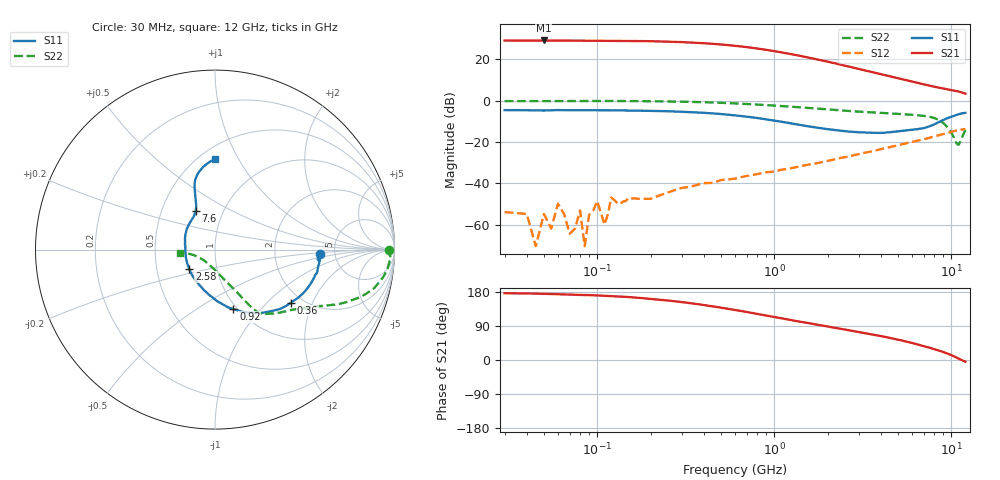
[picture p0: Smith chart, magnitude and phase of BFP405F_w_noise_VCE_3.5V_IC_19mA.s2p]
! Infineon Technologies  Discrete & RF Semiconductors
! BFP405F
! VCE =  3.5 V,  IC =  19 mA
! Common Emitter S-Parameters:  Nov 2015
# GHz  S  MA  R  50
!  f  S11  S21  S12  S22
! GHz  MAG  ANG  MAG  ANG  MAG  ANG  MAG  ANG
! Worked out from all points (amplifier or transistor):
!   239 points, 30 MHz to 12 GHz, reference 50 ohm
!   highest |S21| = 29.1 dB at 50 MHz (marker M1)
!   |S21| within 3 dB of that: start of sweep to 665.3 MHz
!   unconditionally stable (mu >= 1): 44.31 MHz to 45.82 MHz; 54.79 MHz to 55.11 MHz; 1.755 GHz to end of sweep (the widest 3 of 5)
!   at 300 MHz: K = 0.24, MSG = 35.3 dB, |S12| = -42.3 dB
!   at 1.88 GHz: K = 1.04, MAG = 23.4 dB, |S12| = -29.7 dB
!   at 12 GHz: K = 1.37, MAG = 4.9 dB, |S12| = -13.8 dB
!   lowest NFmin = 2.19 dB at 450 MHz
!   S11 on the Smith chart (normalised r, x): 30 MHz: 3.81, -0.27; 360 MHz: 1.75, -1.41; 920 MHz: 0.96, -0.72; 2.58 GHz: 0.73, -0.16; 7.6 GHz: 0.74, +0.34; 12 GHz: 0.60, +0.80
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0.03  0.5863 -2.3  28.28 176.2  0.002 87.8  0.9675 0.0
0.04  0.5837 -3.4  28.27 175.7  0.0018 106.3  0.9707 -0.4
0.045  0.5787 -4.4  28.35 175.0  0.0003 -172.7  0.9708 -0.8
0.05  0.5739 -5.5  28.44 174.4  0.0018 -91.6  0.9709 -1.1
0.055  0.5812 -5.7  28.31 174.1  0.0008 58.9  0.9736 -1.3
0.06  0.5886 -5.9  28.18 173.7  0.0032 75.0  0.9764 -1.4
0.07  0.5831 -6.5  28.13 172.5  0.0006 27.6  0.9732 -1.7
0.08  0.5859 -7.4  27.99 171.7  0.0022 -140.8  0.9774 -2.0
0.085  0.5842 -8.1  28.02 171.5  0.0003 -165.4  0.9774 -2.4
0.1  0.5828 -10.4  27.88 170.4  0.0037 121.1  0.9759 -3.5
0.11  0.583 -11.4  27.85 169.4  0.001 -143.7  0.9783 -3.6
0.15  0.575 -15.5  27.7 166.2  0.0044 62.6  0.9709 -5.3
0.24  0.5541 -24.3  26.7 157.9  0.0056 87.2  0.9542 -8.6
0.36  0.5171 -34.9  24.99 148.2  0.0089 78.5  0.9234 -12.3
0.6  0.4379 -53.7  21.12 131.9  0.0129 74.7  0.8538 -18.0
0.92  0.3467 -72.8  16.65 116.5  0.0185 72.7  0.7741 -22.6
1.3  0.2703 -91.8  12.83 103.6  0.024 70.7  0.7017 -26.3
1.64  0.2298 -106.9  10.5 95.5  0.0293 71.1  0.6531 -28.9
2.58  0.1792 -143.2  6.779 79.3  0.0437 69.0  0.563 -36.1
4.5  0.1715 167.1  3.829 58.4  0.0742 63.9  0.4904 -46.2
7.6  0.2416 116.3  2.268 31.9  0.1269 51.3  0.4022 -56.7
12  0.5024 89.8  1.469 -4.6  0.2051 25.5  0.1958 -175.1
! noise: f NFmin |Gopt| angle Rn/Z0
0.45  2.19  0.03  -9  0.5
0.9  2.21  0.01  -43  0.33
1.5  2.26  0.02  -82  0.27
1.9  2.32  0.03  -109  0.39
2.4  2.46  0.03  -113  0.24
3  2.56  0.05  -115  0.11
3.5  2.63  0.07  -116  0.14
4.5  2.86  0.13  -104  0.46
5.5  3.17  0.23  -88  0.49
